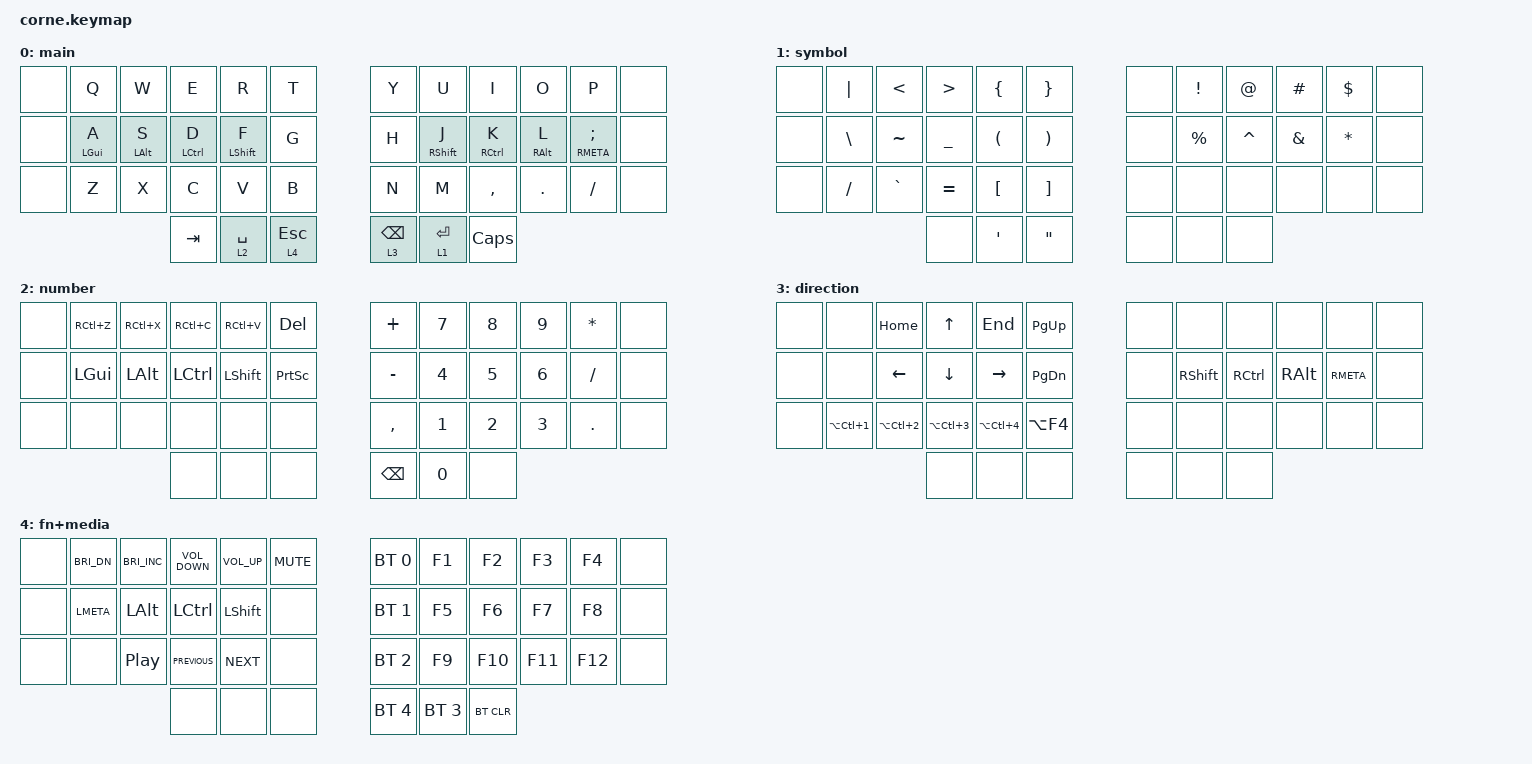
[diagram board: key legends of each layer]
/*
 * Copyright (c) 2020 The ZMK Contributors
 *
 * SPDX-License-Identifier: MIT
 */

#include <behaviors.dtsi>
#include <dt-bindings/zmk/bt.h>
#include <dt-bindings/zmk/keys.h>

/ {
    behaviors {
        ht: ht {
            compatible = "zmk,behavior-hold-tap";
            label = "HT";
            bindings = <&kp>, <&kp>;

            #binding-cells = <2>;
            tapping-term-ms = <200>;
            flavor = "tap-preferred";
        };

        altguiht: altguiht {
            compatible = "zmk,behavior-hold-tap";
            label = "ALTGUIHT";
            bindings = <&kp>, <&kp>;

            #binding-cells = <2>;
            tapping-term-ms = <300>;
            flavor = "balanced";
        };
    };

    combos { compatible = "zmk,combos"; };

    keymap {
        compatible = "zmk,keymap";

        main {
            bindings = <
&none  &kp Q                 &kp W             &kp E        &kp R        &kp T           &kp Y            &kp U         &kp I         &kp O             &kp P                      &none
&none  &altguiht LEFT_GUI A  &altguiht LALT S  &ht LCTRL D  &ht LSHFT F  &kp G           &kp H            &ht RSHIFT J  &ht RCTRL K   &altguiht RALT L  &altguiht RMETA SEMICOLON  &none
&none  &kp Z                 &kp X             &kp C        &kp V        &kp B           &kp N            &kp M         &kp COMMA     &kp DOT           &kp FSLH                   &none
                                               &kp TAB      &lt 2 SPACE  &lt 4 ESCAPE    &lt 3 BACKSPACE  &lt 1 RET     &kp CAPSLOCK
            >;
        };

        symbol {
            bindings = <
&none  &kp PIPE   &kp LT     &kp GT          &kp LBRC          &kp RBRC             &none  &kp EXCLAMATION  &kp AT_SIGN  &kp HASH       &kp DOLLAR    &none
&none  &kp BSLH   &kp TILDE  &kp UNDERSCORE  &kp LPAR          &kp RPAR             &none  &kp PERCENT      &kp CARET    &kp AMPERSAND  &kp ASTERISK  &none
&none  &kp SLASH  &kp GRAVE  &kp EQUAL       &kp LBKT          &kp RBKT             &none  &none            &none        &none          &none         &none
                             &none           &kp SINGLE_QUOTE  &kp DOUBLE_QUOTES    &none  &none            &none
            >;
        };

        number {
            bindings = <
&none  &kp RC(Z)     &kp RC(X)     &kp RC(C)  &kp RC(V)   &kp DEL            &kp PLUS       &kp N7  &kp N8  &kp N9  &kp ASTERISK  &none
&none  &kp LEFT_GUI  &kp LEFT_ALT  &kp LCTRL  &kp LSHIFT  &kp PRINTSCREEN    &kp MINUS      &kp N4  &kp N5  &kp N6  &kp SLASH     &none
&none  &none         &none         &none      &none       &none              &kp COMMA      &kp N1  &kp N2  &kp N3  &kp DOT       &none
                                   &none      &none       &none              &kp BACKSPACE  &kp N0  &none
            >;
        };

        direction {
            bindings = <
&none  &none                 &kp HOME              &kp UP                &kp END               &kp PAGE_UP    &none  &none       &none      &none     &none      &none
&none  &none                 &kp LEFT_ARROW        &kp DOWN_ARROW        &kp RIGHT_ARROW       &kp PG_DN      &none  &kp RSHIFT  &kp RCTRL  &kp RALT  &kp RMETA  &none
&none  &kp LA(LC(NUMBER_1))  &kp LA(LC(NUMBER_2))  &kp LA(LC(NUMBER_3))  &kp LA(LC(NUMBER_4))  &kp LA(F4)     &none  &none       &none      &none     &none      &none
                                                   &none                 &none                 &none          &none  &none       &none
            >;
        };

        fn+media {
            bindings = <
&none  &kp C_BRI_DN  &kp C_BRIGHTNESS_INC  &kp C_VOLUME_DOWN  &kp C_VOLUME_UP  &kp K_MUTE    &bt BT_SEL 0  &kp F1        &kp F2      &kp F3   &kp F4   &none
&none  &kp LMETA     &kp LEFT_ALT          &kp LCTRL          &kp LEFT_SHIFT   &none         &bt BT_SEL 1  &kp F5        &kp F6      &kp F7   &kp F8   &none
&none  &none         &kp C_PLAY_PAUSE      &kp C_PREVIOUS     &kp C_NEXT       &none         &bt BT_SEL 2  &kp F9        &kp F10     &kp F11  &kp F12  &none
                                           &none              &none            &none         &bt BT_SEL 4  &bt BT_SEL 3  &bt BT_CLR
            >;
        };
    };
};
